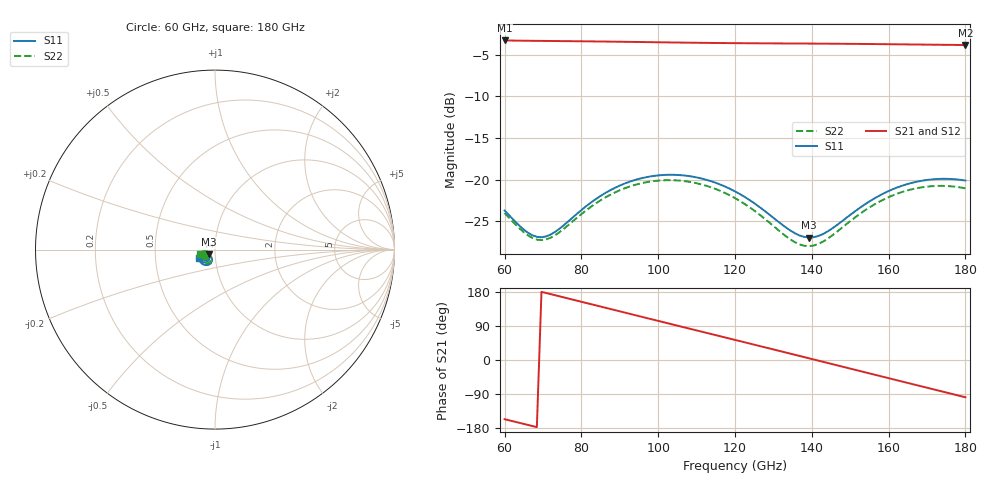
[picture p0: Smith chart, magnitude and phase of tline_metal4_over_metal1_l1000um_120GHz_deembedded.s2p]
! Created with skrf 2.0.1 (http://scikit-rf.org).
# GHz S DB R 50.0
!freq dBS11 angS11 dBS21 angS21 dBS12 angS12 dBS22 angS22
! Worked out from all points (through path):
!   101 points, 60 GHz to 180 GHz, reference 50 ohm
!   highest |S21| = -3.28 dB at 60 GHz (marker M1); lowest = -3.8 dB at 180 GHz (marker M2)
!   group delay of S21, straight-line fit = 7 ps
!   lowest |S11| = -27.0 dB at 139.2 GHz (marker M3), VSWR 1.09, Z = 46.5 - j2.52 ohm
!   |S11| at or under -10 dB: start of sweep to end of sweep
!   |S22| runs from -28.0 to -20.1 dB; largest |S21 - S12| = 7.6e-14
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60  -23.72 -148.4  -3.28 -156.3  -3.28 -156.3  -24.03 -150.6
66  -26.37 -137.9  -3.31 -171.2  -3.31 -171.2  -26.69 -140.8
69.6  -26.94 -125.2  -3.33 179.8  -3.33 179.8  -27.28 -128.6
73.2  -26.28 -113.3  -3.35 170.8  -3.35 170.8  -26.68 -117.3
80.4  -23.52 -105.0  -3.38 152.6  -3.38 152.6  -24.01 -109.5
85.2  -21.91 -107.7  -3.40 140.5  -3.40 140.5  -22.44 -112.5
91.2  -20.49 -115.2  -3.44 125.4  -3.44 125.4  -21.06 -120.5
100.8  -19.47 -130.9  -3.50 101.2  -3.50 101.2  -20.10 -136.9
105.6  -19.46 -139.1  -3.53 89.1  -3.53 89.1  -20.13 -145.5
110.4  -19.78 -146.9  -3.56 77.1  -3.56 77.1  -20.48 -153.8
120  -21.42 -160.0  -3.60 53.0  -3.60 53.0  -22.23 -167.7
129.6  -24.45 -163.2  -3.63 28.9  -3.63 28.9  -25.43 -171.4
135.6  -26.46 -153.7  -3.64 13.8  -3.64 13.8  -27.54 -161.2
139.2  -26.97 -142.9  -3.65 4.7  -3.65 4.7  -28.01 -149.8
140.4  -26.93 -139.1  -3.65 1.7  -3.65 1.7  -27.94 -145.8
144  -26.27 -129.0  -3.66 -7.4  -3.66 -7.4  -27.15 -135.7
150  -24.25 -120.8  -3.69 -22.6  -3.69 -22.6  -25.00 -128.5
154.8  -22.69 -121.0  -3.70 -34.8  -3.70 -34.8  -23.41 -129.6
160.8  -21.22 -125.9  -3.73 -50.0  -3.73 -50.0  -21.96 -135.5
170.4  -20.02 -138.3  -3.78 -74.2  -3.78 -74.2  -20.83 -149.3
175.2  -19.92 -145.1  -3.81 -86.3  -3.81 -86.3  -20.78 -156.9
180  -20.12 -151.8  -3.83 -98.3  -3.83 -98.3  -21.05 -164.2
